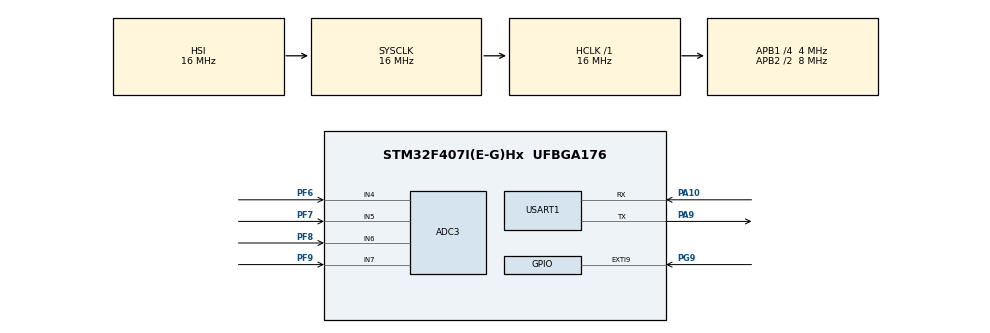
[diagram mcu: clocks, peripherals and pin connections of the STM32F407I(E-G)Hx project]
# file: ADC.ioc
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ADC3.Channel-0\#ChannelRegularConversion=ADC_CHANNEL_4
ADC3.Channel-1\#ChannelRegularConversion=ADC_CHANNEL_5
ADC3.Channel-2\#ChannelRegularConversion=ADC_CHANNEL_6
ADC3.Channel-3\#ChannelRegularConversion=ADC_CHANNEL_7
ADC3.ClockPrescaler=ADC_CLOCK_SYNC_PCLK_DIV4
ADC3.ContinuousConvMode=ENABLE
ADC3.DMAContinuousRequests=ENABLE
ADC3.NbrOfConversion=4
ADC3.NbrOfConversionFlag=1
ADC3.Rank-0\#ChannelRegularConversion=1
ADC3.Rank-1\#ChannelRegularConversion=2
ADC3.Rank-2\#ChannelRegularConversion=3
ADC3.Rank-3\#ChannelRegularConversion=4
ADC3.SamplingTime-0\#ChannelRegularConversion=ADC_SAMPLETIME_112CYCLES
ADC3.SamplingTime-1\#ChannelRegularConversion=ADC_SAMPLETIME_112CYCLES
ADC3.SamplingTime-2\#ChannelRegularConversion=ADC_SAMPLETIME_112CYCLES
ADC3.SamplingTime-3\#ChannelRegularConversion=ADC_SAMPLETIME_112CYCLES
ADC3.ScanConvMode=ENABLE
Dma.ADC3.0.Direction=DMA_PERIPH_TO_MEMORY
Dma.ADC3.0.FIFOMode=DMA_FIFOMODE_DISABLE
Dma.ADC3.0.Instance=DMA2_Stream0
Dma.ADC3.0.MemDataAlignment=DMA_MDATAALIGN_HALFWORD
Dma.ADC3.0.MemInc=DMA_MINC_ENABLE
Dma.ADC3.0.Mode=DMA_CIRCULAR
Dma.ADC3.0.PeriphDataAlignment=DMA_PDATAALIGN_HALFWORD
Dma.ADC3.0.PeriphInc=DMA_PINC_DISABLE
Dma.ADC3.0.Priority=DMA_PRIORITY_LOW
Dma.Request0=ADC3
Mcu.Family=STM32F4
Mcu.Name=STM32F407I(E-G)Hx
Mcu.Package=UFBGA176
NVIC.DMA2_Stream0_IRQn=true\:0\:0\:false\:false\:true\:false\:true\:true
NVIC.EXTI9_5_IRQn=true\:0\:0\:false\:false\:true\:true\:true\:true
NVIC.PriorityGroup=NVIC_PRIORITYGROUP_4
NVIC.USART1_IRQn=true\:0\:0\:false\:false\:true\:true\:true\:true
PA10.Mode=Asynchronous
PA10.Signal=USART1_RX
PA9.Mode=Asynchronous
PA9.Signal=USART1_TX
PF6.Mode=IN4
PF6.Signal=ADC3_IN4
PF7.Mode=IN5
PF7.Signal=ADC3_IN5
PF8.Mode=IN6
PF8.Signal=ADC3_IN6
PF9.Mode=IN7
PF9.Signal=ADC3_IN7
PG9.Signal=GPXTI9
ProjectManager.HeapSize=0x200
ProjectManager.StackSize=0x400
ProjectManager.TargetToolchain=MDK-ARM V5.27
RCC.48MHZClocksFreq_Value=168000000
RCC.AHBFreq_Value=16000000
RCC.APB1CLKDivider=RCC_HCLK_DIV4
RCC.APB1Freq_Value=4000000
RCC.APB1TimFreq_Value=8000000
RCC.APB2CLKDivider=RCC_HCLK_DIV2
RCC.APB2Freq_Value=8000000
RCC.APB2TimFreq_Value=16000000
RCC.CortexFreq_Value=16000000
RCC.HCLKFreq_Value=16000000
RCC.HSE_VALUE=25000000
RCC.HSI_VALUE=16000000
RCC.LSE_VALUE=32768
RCC.PLLM=8
RCC.PLLN=336
RCC.SYSCLKFreq_VALUE=16000000
RCC.VCOOutputFreq_Value=672000000
USART1.VirtualMode=VM_ASYNC
board=custom

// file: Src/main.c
/* USER CODE BEGIN Header */
/**
  ******************************************************************************
  * @file           : main.c
  * @brief          : Main program body
  ******************************************************************************
  * @attention
  *
  * <h2><center>&copy; Copyright (c) 2022 STMicroelectronics.
  * All rights reserved.</center></h2>
  *
  * This software component is licensed by ST under BSD 3-Clause license,
  * the "License"; You may not use this file except in compliance with the
  * License. You may obtain a copy of the License at:
  *                        opensource.org/licenses/BSD-3-Clause
  *
  ******************************************************************************
  */
/* USER CODE END Header */
#include "main.h"
#include "adc.h"
#include "dma.h"
#include "usart.h"
#include "gpio.h"

/* USER CODE BEGIN Includes */
#include "stdio.h"
#include "stdlib.h"
/* USER CODE END Includes */

/* USER CODE BEGIN PV */
__IO uint16_t adcx[4]={0};
float temp0,temp1,temp2,temp3;

/* 模拟传感器数据 */
float simulated_temperature = 25.0f;
float simulated_light = 500.0f;
float simulated_smoke = 0.0f;
float simulated_flame = 0.0f;
uint8_t simulated_door_status = 0;
/* USER CODE END PV */

void SystemClock_Config(void);
/* USER CODE BEGIN PFP */

/* 辅助函数声明 */
void SimulateSensorData(EnvData_t *env_data);
void PrintEnvData(const EnvData_t *env_data);

/* USER CODE END PFP */

int main(void)
{

  /* MCU Configuration--------------------------------------------------------*/

  /* Reset of all peripherals, Initializes the Flash interface and the Systick. */
  HAL_Init();

  /* Configure the system clock */
  SystemClock_Config();

  /* Initialize all configured peripherals */
  MX_GPIO_Init();
  MX_DMA_Init();
  MX_ADC3_Init();
  MX_USART1_UART_Init();
  /* USER CODE BEGIN 2 */
	HAL_ADC_Start_DMA(&hadc3,(uint32_t*)adcx,4);//启动ADC转换

  /* 初始化环境数据 */
  EnvData_t env_data;

  printf("\r\n=== Environmental Monitoring System Started ===\r\n");
  /* USER CODE END 2 */

  /* Infinite loop */
  while (1)
  {

    /* USER CODE BEGIN 3 */
    /* 环境采集任务 - 模拟Task_Sensor功能 */
    SimulateSensorData(&env_data);

    /* 控制任务 - 模拟Task_Control功能 */
    printf("\r\n[Control Task] Processing environmental data...\r\n");
    PrintEnvData(&env_data);

    /* 界面任务 - 模拟Task_UI功能 */
    printf("[UI Task] Updating display...\r\n");

    /* 日志任务 - 模拟Task_Log功能 */
    printf("[Log Task] Recording data...\r\n");

    /* 显示ADC原始数据 */
    temp0 = (float)adcx[0]*(3.3/4096);  // 将ADC值转换为电压值
    temp1 = (float)adcx[1]*(3.3/4096);  // 将ADC值转换为电压值
    temp2 = (float)adcx[2]*(3.3/4096);  // 将ADC值转换为电压值
    temp3 = (float)adcx[3]*(3.3/4096);  // 将ADC值转换为电压值
    printf("\r\nADC Data: Channel 1=%fV, Channel 2=%fV, Channel 3=%fV, Channel 4=%fV\r\n",temp0,temp1,temp2,temp3);

    printf("\r\n=== Waiting for next acquisition ===\r\n");
    HAL_Delay(2000);  // 延迟2秒
  }
  /* USER CODE END 3 */
}

void SystemClock_Config(void)
{
  RCC_OscInitTypeDef RCC_OscInitStruct = {0};
  RCC_ClkInitTypeDef RCC_ClkInitStruct = {0};

  /** Configure the main internal regulator output voltage
  */
  __HAL_RCC_PWR_CLK_ENABLE();
  __HAL_PWR_VOLTAGESCALING_CONFIG(PWR_REGULATOR_VOLTAGE_SCALE1);

  /** Initializes the RCC Oscillators according to the specified parameters
  * in the RCC_OscInitTypeDef structure.
  */
  RCC_OscInitStruct.OscillatorType = RCC_OSCILLATORTYPE_HSI;
  RCC_OscInitStruct.HSIState = RCC_HSI_ON;
  RCC_OscInitStruct.HSICalibrationValue = RCC_HSICALIBRATION_DEFAULT;
  RCC_OscInitStruct.PLL.PLLState = RCC_PLL_NONE;
  if (HAL_RCC_OscConfig(&RCC_OscInitStruct) != HAL_OK)
  {
    Error_Handler();
  }

  /** Initializes the CPU, AHB and APB buses clocks
  */
  RCC_ClkInitStruct.ClockType = RCC_CLOCKTYPE_HCLK|RCC_CLOCKTYPE_SYSCLK
                              |RCC_CLOCKTYPE_PCLK1|RCC_CLOCKTYPE_PCLK2;
  RCC_ClkInitStruct.SYSCLKSource = RCC_SYSCLKSOURCE_HSI;
  RCC_ClkInitStruct.AHBCLKDivider = RCC_SYSCLK_DIV1;
  RCC_ClkInitStruct.APB1CLKDivider = RCC_HCLK_DIV4;
  RCC_ClkInitStruct.APB2CLKDivider = RCC_HCLK_DIV2;

  if (HAL_RCC_ClockConfig(&RCC_ClkInitStruct, FLASH_LATENCY_0) != HAL_OK)
  {
    Error_Handler();
  }
}

/* USER CODE BEGIN 4 */
int fputc(int ch, FILE *f)
{
	while((USART1->SR&0X40)==0);//循环发送,直到发送完毕
	USART1->DR = (uint8_t) ch;
	return ch;
}

/**
 * @brief 模拟传感器数据采集
 * @param env_data 指向EnvData结构体的指针
 */
void SimulateSensorData(EnvData_t *env_data)
{
    static uint32_t counter = 0;

    /* 模拟温度变化 (20-30度范围) - 使用简单的周期函数 */
    simulated_temperature = 25.0f + 5.0f * ((counter % 20) / 20.0f);

    /* 模拟光照变化 (白天/夜晚) - 使用简单的周期函数 */
    simulated_light = 300.0f + 200.0f * ((counter % 40) / 40.0f);

    /* 模拟烟雾浓度 (随机波动) */
    simulated_smoke = (float)(rand() % 100) / 10.0f;

    /* 模拟火焰强度 (随机波动) */
    simulated_flame = (float)(rand() % 50) / 10.0f;

    /* 模拟门状态 (每10次切换一次) */
    if (counter % 10 == 0) {
        simulated_door_status = !simulated_door_status;
    }

    /* 填充环境数据结构 */
    env_data->temperature = simulated_temperature;
    env_data->light_intensity = simulated_light;
    env_data->smoke_level = simulated_smoke;
    env_data->flame_level = simulated_flame;
    env_data->door_status = simulated_door_status;
    env_data->timestamp = HAL_GetTick();

    counter++;
}

/**
 * @brief 打印环境数据
 * @param env_data 指向EnvData结构体的指针
 */
void PrintEnvData(const EnvData_t *env_data)
{
    printf("=== Environmental Data ===\r\n");
    printf("Temperature: %.2f°C\r\n", env_data->temperature);
    printf("Light Intensity: %.2f lux\r\n", env_data->light_intensity);
    printf("Smoke Level: %.2f ppm\r\n", env_data->smoke_level);
    printf("Flame Level: %.2f\r\n", env_data->flame_level);
    printf("Door Status: %s\r\n", env_data->door_status ? "Open" : "Closed");
    printf("Timestamp: %lu ms\r\n", env_data->timestamp);
    printf("==========================\r\n");
}
/* USER CODE END 4 */

void Error_Handler(void)
{
}
